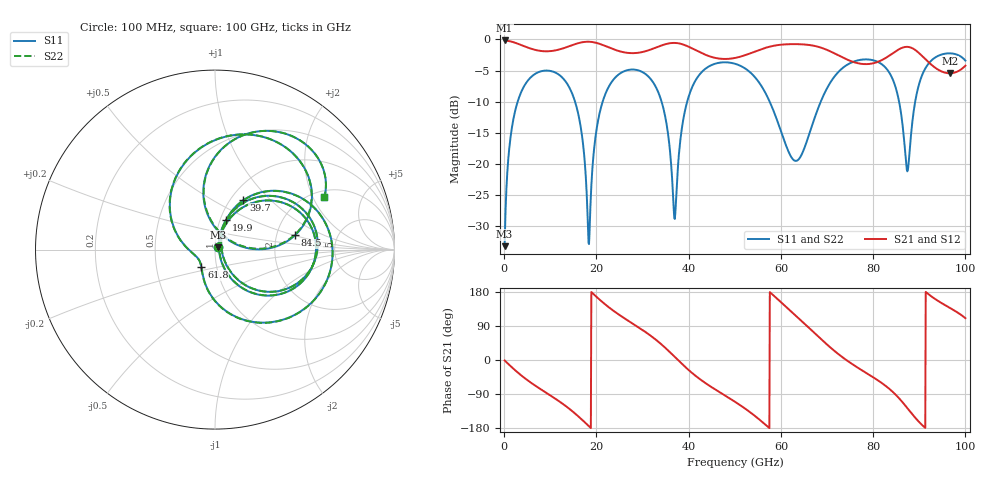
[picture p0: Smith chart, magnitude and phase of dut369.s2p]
! Touchstone file exported from HFSS 2026.1.0
!  File:  C:/ffzhzh/LocalFiles/Ansys_Project_Files/temp_train_TSV_RDL_369_1783713251_45164.aedt
!  Generated:  04:01:11 AM Jul 11, 2026
!  Design:  TSV_RDL
!  Project:  temp_train_TSV_RDL_369_1783713251_45164
! Variables:
!  h_bsmrdl = 4.12um
!  h_ox = 20um
!  h_rdl = 5um
!  h_sub = 73.25um
!  h_tmrdl = 2.33um
!  h_tsv = 73.25um
!  h_via = 3um
!  l_bsmrdl = 608.93um
!  l_sub = 3045.11um
!  l_tmrdl = 180.79um
!  m_sub = 200um
!  pitch = 56.29um
!  r_tsv = 14.91um
!  s_tmrdl = 10um
!  w_bsmrdl = 18.24um
!  w_sub = 500um
!  w_tmrdl = 13.48um
!  x_tsv_center1 = 187.53um
!  x_tsv_center2 = 814.7um
!  x_tsv_center3 = 1008.97um
!  x_tsv_center4 = 1636.14um
!  x_tsv_center5 = 1830.41um
!  x_tsv_center6 = 2457.58um
# GHz S MA R 50.000000
! Terminal data exported
! Port[1] = TM_RDL1_1_T1
! Port[2] = TM_RDL5_1_T1
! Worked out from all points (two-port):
!   1000 points, 100 MHz to 100 GHz, reference 50 ohm
!   highest |S21| = -0.16 dB at 100 MHz (marker M1); lowest = -5.4 dB at 96.6 GHz (marker M2)
!   |S21| within 3 dB of the highest: start of sweep to 74.15 GHz; 82.27 GHz to 91.32 GHz (9.041 GHz wide, 10.4 % of centre)
!   lowest |S11| = -33.2 dB at 100 MHz (marker M3), VSWR 1.04, Z = 51.8 + j1.29 ohm
!   |S11| at or under -10 dB: 15.37 GHz to 21.35 GHz (5.976 GHz wide, 32.5 % of centre); 34.14 GHz to 39.68 GHz (5.542 GHz wide, 15 % of centre); 57.57 GHz to 68.63 GHz (11.06 GHz wide, 17.5 % of centre) (the widest 3 of 5)
!   |S22| runs from -33.2 to -2.2 dB; largest |S21 - S12| = 1.7e-14
!   S11 on the Smith chart (normalised r, x): 100 MHz: 1.04, +0.03; 19.9 GHz: 1.07, +0.36; 39.7 GHz: 1.15, +0.70; 61.8 GHz: 0.84, -0.16; 84.5 GHz: 2.54, +0.51; 100 GHz: 2.27, +2.46
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0.1  0.0219 34.5  0.9821 -1.2  0.9821 -1.2  0.0219 34.5
! Gamma 0 0 0 0
! Port Impedance 50 0 50 0
1.8  0.2083 63.2  0.9561 -20.7  0.9561 -20.7  0.2083 63.2
5.3  0.4757 31.9  0.8561 -55.4  0.8561 -55.4  0.4757 31.9
12.6  0.4947 -25.1  0.8445 -114.8  0.8445 -114.8  0.4946 -25.0
16.8  0.1775 -61.4  0.9481 -156.6  0.9481 -156.6  0.1775 -61.1
18.4  0.02275 15.7  0.9592 -174.9  0.9592 -174.9  0.02398 15.4
19.9  0.1754 69.6  0.9411 168.0  0.9411 168.0  0.1757 69.2
27.3  0.5724 9.4  0.7777 100.5  0.7777 100.5  0.5725 9.4
33.4  0.378 -38.5  0.8751 48.5  0.8751 48.5  0.3781 -38.4
37  0.03622 14.0  0.9382 8.1  0.9382 8.1  0.03743 13.9
39.7  0.3185 60.1  0.8846 -23.2  0.8846 -23.2  0.3188 59.8
50.1  0.6375 -20.0  0.7113 -110.6  0.7113 -110.6  0.6377 -20.2
57.1  0.3448 -80.3  0.8663 -175.5  0.8663 -175.5  0.3449 -80.5
61.8  0.1223 -128.4  0.9167 132.8  0.9167 132.8  0.1225 -128.7
66.7  0.2009 164.1  0.8969 77.8  0.8969 77.8  0.2011 164.5
72.6  0.555 101.3  0.7411 14.3  0.7411 14.3  0.5549 101.6
83.4  0.5492 19.5  0.7374 -75.0  0.7374 -75.0  0.5492 19.9
84.5  0.4535 10.2  0.7861 -87.0  0.7861 -87.0  0.4536 10.7
87.4  0.08735 49.6  0.8727 -126.7  0.8727 -126.7  0.0907 50.0
90.6  0.5155 90.1  0.7381 -171.4  0.7381 -171.4  0.5161 89.9
96.6  0.774 47.3  0.5353 137.7  0.5353 137.7  0.7742 47.3
100  0.6768 25.7  0.616 110.2  0.616 110.2  0.677 25.8
